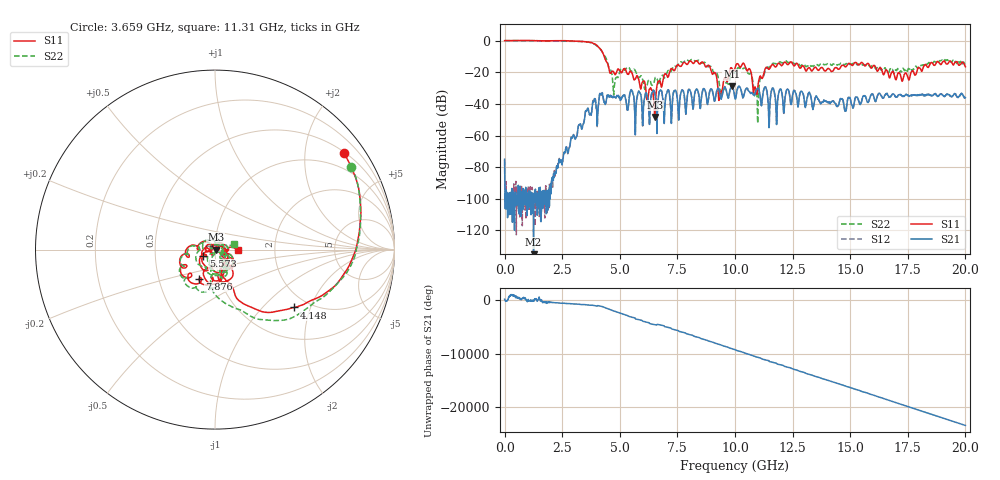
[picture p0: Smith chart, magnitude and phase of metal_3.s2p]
#  HZ  S  RI  R  50.00
! Rohde & Schwarz Vector Network Analyzer
! Rohde-Schwarz,ZNB20-2Port,1311601062102128,3.60
! Created: UTC 4/29/2024, 2:40:24 PM
! freq[Hz]  re:S11  im:S11  re:S21  im:S21  re:S12  im:S12  re:S22  im:S22
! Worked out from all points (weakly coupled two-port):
!   2007 points, 100 kHz to 20 GHz, reference 50 ohm
!   highest |S21| = -28.84 dB at 9.86 GHz (marker M1); lowest = -137.5 dB at 1.256 GHz (marker M2)
!   lowest |S11| = -48.3 dB at 6.521 GHz (marker M3), VSWR 1.01, Z = 50.4 + j0.0388 ohm
!   |S11| at or under -10 dB: 4.324 GHz to end of sweep
!   |S22| runs from -52.3 to 0.1 dB; largest |S21 - S12| = 0.0016
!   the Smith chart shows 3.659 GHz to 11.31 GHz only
!   S11 on the Smith chart (normalised r, x): 3.659 GHz: 0.53, +2.92; 4.148 GHz: 1.69, -1.56; 5.573 GHz: 0.88, -0.06; 7.876 GHz: 0.80, -0.27; 11.31 GHz: 1.29, -0.00
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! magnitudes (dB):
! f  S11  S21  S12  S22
! 100 kHz  0.0  -75.0  -75.5  0.1
! 1.256 GHz  0.0  -137.5  -98.9  -0.1
! 2.233 GHz  0.0  -83.7  -81.8  -0.3
! 3.34 GHz  -0.6  -55.8  -55.5  -0.6
! 3.659 GHz  -0.9  -45.5  -45.5  -1.0
! 4.148 GHz  -5.2  -33.4  -33.1  -5.1
! 4.756 GHz  -20.5  -35.6  -35.6  -30.2
! 5.573 GHz  -22.6  -34.0  -34.0  -18.4
! 6.521 GHz  -48.3  -33.5  -33.6  -24.3
! 6.67 GHz  -25.8  -36.2  -36.3  -26.9
! 7.876 GHz  -14.7  -45.2  -45.5  -12.1
! 8.863 GHz  -15.7  -35.3  -35.2  -16.6
! 9.362 GHz  -33.1  -35.5  -35.5  -32.9
! 9.86 GHz  -17.4  -28.8  -28.9  -20.3
! 10 GHz  -17.4  -36.6  -36.6  -20.4
! 10.65 GHz  -18.2  -32.7  -32.7  -20.8
! 10.93 GHz  -32.0  -30.9  -30.9  -33.0
! 11.31 GHz  -18.0  -29.4  -29.3  -19.0
! 11.48 GHz  -18.1  -55.0  -54.7  -17.0
! 13.34 GHz  -19.2  -39.7  -39.7  -16.0
! 16.67 GHz  -22.2  -35.4  -35.4  -20.3
! 20 GHz  -16.5  -36.0  -35.9  -13.8
